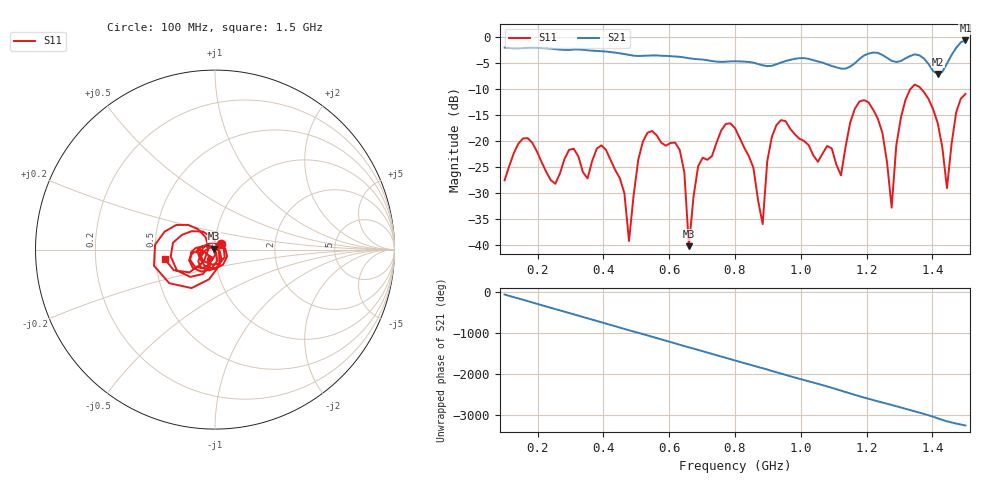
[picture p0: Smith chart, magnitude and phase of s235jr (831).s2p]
! NanoVNA-App
! Date: 2025-09-25 15:10:38
! Start: 100MHz Stop: 1,5GHz Points: 101
! S-Parameter data: F S11 S21 S12 S22
# Hz S RI R 50
!  Frequency  S11_Real  S11_Imag  S21_Real  S21_Imag  S12_Real  S12_Imag  S22_Real  S22_Imag
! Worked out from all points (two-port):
!   101 points, 100 MHz to 1.5 GHz, reference 50 ohm
!   highest |S21| = -0.59 dB at 1.5 GHz (marker M1); lowest = -7.0 dB at 1.416 GHz (marker M2)
!   |S21| within 3 dB of the highest: start of sweep to 598.6 MHz; 1.19 GHz to 1.253 GHz (63.46 MHz wide, 5.2 % of centre) (the widest 2 of 4)
!   lowest |S11| = -40.1 dB at 660 MHz (marker M3), VSWR 1.02, Z = 49.2 + j0.567 ohm
!   |S11| at or under -10 dB: start of sweep to 1.332 GHz; 1.367 GHz to end of sweep
!   S12 and S22 are empty: the file has one direction only
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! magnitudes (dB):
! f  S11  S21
! 100 MHz  -27.5  -2.0
! 156 MHz  -19.4  -2.0
! 338 MHz  -25.9  -2.4
! 408 MHz  -21.6  -2.7
! 478 MHz  -39.2  -3.4
! 520 MHz  -20.1  -3.5
! 576 MHz  -20.2  -3.5
! 632 MHz  -21.6  -3.7
! 660 MHz  -40.1  -4.0
! 688 MHz  -24.8  -4.2
! 800 MHz  -17.4  -4.6
! 884 MHz  -35.9  -5.4
! 926 MHz  -16.8  -5.2
! 1.038 GHz  -22.7  -4.4
! 1.122 GHz  -26.5  -6.0
! 1.206 GHz  -12.5  -3.1
! 1.248 GHz  -18.4  -3.4
! 1.276 GHz  -32.7  -4.5
! 1.332 GHz  -10.0  -3.6
! 1.416 GHz  -16.5  -7.0
! 1.444 GHz  -29.0  -5.0
! 1.5 GHz  -10.9  -0.6
